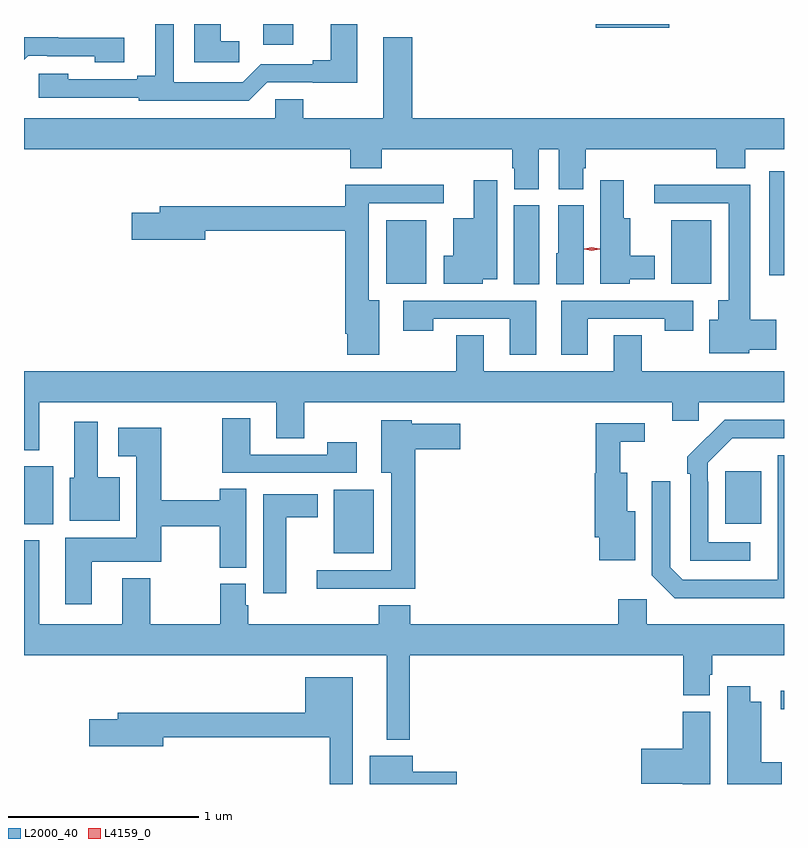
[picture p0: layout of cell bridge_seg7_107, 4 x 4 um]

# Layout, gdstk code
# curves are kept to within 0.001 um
import gdstk
lib = gdstk.Library(unit=1e-6, precision=1e-09)
def R(c, l, rs):  # rectangles x0, y0, x1, y1
    for r in rs: c.add(gdstk.rectangle(r[:2], r[2:], *l))
def P(c, l, *ps):  # polygons
    for p in ps: c.add(gdstk.Polygon(p, *l))
L2000_40 = (2000, 40)
L4159_0 = (4159, 0)

bridge_seg7_107 = lib.new_cell('bridge_seg7_107')
R(bridge_seg7_107, L2000_40, [(1130.013,1004.328,1130.03,1004.426), (1127.66,1005.149,1127.872,1005.484), (1126.03,1005.302,1126.183,1005.607), (1129.721,1005.305,1129.909,1005.58), (1128.608,1006.564,1128.742,1006.98), (1127.936,1006.568,1128.148,1006.903), (1129.436,1006.568,1129.648,1006.903), (1129.952,1006.613,1130.03,1007.161), (1127.288,1007.826,1127.446,1007.935), (1129.038,1007.914,1129.426,1007.935)])
P(bridge_seg7_107, L2000_40, [(1127.31,1007.628),(1127.785,1007.627),(1127.785,1007.935),(1127.645,1007.935),(1127.645,1007.744),(1127.549,1007.744),(1127.549,1007.724),(1127.277,1007.724),(1127.181,1007.628),(1126.818,1007.628),(1126.818,1007.935),(1126.721,1007.935),(1126.721,1007.663),(1126.625,1007.663),(1126.625,1007.643),(1126.263,1007.643),(1126.263,1007.674),(1126.107,1007.674),(1126.107,1007.547),(1126.635,1007.547),(1126.635,1007.532),(1127.214,1007.532)],
  [(1127.164,1007.843),(1127.065,1007.843),(1127.065,1007.935),(1126.925,1007.935),(1126.925,1007.734),(1127.164,1007.734)],
  [(1126.558,1007.863),(1126.211,1007.863),(1126.211,1007.866),(1126.03,1007.866),(1126.03,1007.746),(1126.053,1007.769),(1126.153,1007.769),(1126.153,1007.766),(1126.402,1007.766),(1126.402,1007.735),(1126.558,1007.735)],
  [(1128.739,1007.276),(1128.845,1007.276),(1128.845,1007.065),(1128.973,1007.065),(1128.973,1007.175),(1128.986,1007.175),(1128.986,1007.276),(1129.673,1007.276),(1129.673,1007.177),(1129.825,1007.177),(1129.825,1007.276),(1130.03,1007.276),(1130.03,1007.44),(1128.074,1007.44),(1128.074,1007.866),(1127.921,1007.866),(1127.921,1007.44),(1127.499,1007.44),(1127.499,1007.538),(1127.352,1007.538),(1127.352,1007.44),(1126.03,1007.44),(1126.03,1007.276),(1127.747,1007.276),(1127.747,1007.177),(1127.912,1007.177),(1127.912,1007.276),(1128.599,1007.276),(1128.599,1007.175),(1128.611,1007.175),(1128.611,1007.065),(1128.739,1007.065)],
  [(1129.218,1006.592),(1129.351,1006.592),(1129.351,1006.714),(1129.222,1006.714),(1129.222,1006.912),(1129.186,1006.912),(1129.186,1007.113),(1129.064,1007.113),(1129.064,1006.568),(1129.218,1006.568)],
  [(1128.444,1006.592),(1128.52,1006.592),(1128.52,1007.113),(1128.398,1007.113),(1128.398,1006.912),(1128.29,1006.912),(1128.29,1006.714),(1128.239,1006.714),(1128.239,1006.568),(1128.444,1006.568)],
  [(1127.899,1006.48),(1127.845,1006.48),(1127.845,1006.992),(1128.238,1006.992),(1128.238,1007.09),(1127.72,1007.09),(1127.72,1006.975),(1126.745,1006.975),(1126.745,1006.941),(1126.596,1006.941),(1126.596,1006.799),(1126.984,1006.799),(1126.984,1006.846),(1127.72,1006.846),(1127.72,1006.306),(1127.732,1006.306),(1127.732,1006.194),(1127.899,1006.194)],
  [(1129.848,1006.22),(1129.99,1006.22),(1129.99,1006.378),(1129.852,1006.378),(1129.852,1007.09),(1129.347,1007.09),(1129.347,1006.992),(1129.739,1006.992),(1129.739,1006.48),(1129.685,1006.48),(1129.685,1006.378),(1129.637,1006.378),(1129.637,1006.202),(1129.848,1006.202)],
  [(1128.976,1006.98),(1128.842,1006.98),(1128.842,1006.728),(1128.83,1006.728),(1128.83,1006.564),(1128.976,1006.564)],
  [(1128.727,1006.479),(1128.027,1006.479),(1128.027,1006.32),(1128.183,1006.32),(1128.183,1006.383),(1128.587,1006.383),(1128.587,1006.194),(1128.727,1006.194)],
  [(1128.997,1006.383),(1129.402,1006.383),(1129.402,1006.32),(1129.552,1006.32),(1129.552,1006.479),(1128.857,1006.479),(1128.857,1006.194),(1128.997,1006.194)],
  [(1126.111,1005.944),(1127.357,1005.944),(1127.357,1005.754),(1127.505,1005.754),(1127.505,1005.944),(1129.442,1005.944),(1129.442,1005.846),(1129.581,1005.846),(1129.581,1005.944),(1130.03,1005.944),(1130.03,1006.108),(1129.281,1006.108),(1129.281,1006.298),(1129.133,1006.298),(1129.133,1006.108),(1128.451,1006.108),(1128.451,1006.298),(1128.304,1006.298),(1128.304,1006.108),(1126.03,1006.108),(1126.03,1005.692),(1126.111,1005.692)],
  [(1127.782,1005.733),(1127.626,1005.733),(1127.626,1005.669),(1127.221,1005.669),(1127.221,1005.859),(1127.074,1005.859),(1127.074,1005.573),(1127.782,1005.573)],
  [(1129.852,1005.207),(1129.632,1005.207),(1129.632,1005.527),(1129.629,1005.527),(1129.629,1005.627),(1129.758,1005.756),(1130.03,1005.756),(1130.03,1005.852),(1129.718,1005.852),(1129.521,1005.657),(1129.521,1005.569),(1129.536,1005.569),(1129.536,1005.111),(1129.852,1005.111)],
  [(1128.089,1005.698),(1128.325,1005.698),(1128.325,1005.832),(1128.072,1005.832),(1128.072,1005.85),(1127.909,1005.85),(1127.909,1005.572),(1127.963,1005.572),(1127.963,1005.06),(1127.571,1005.06),(1127.571,1004.963),(1128.089,1004.963)],
  [(1126.534,1005.55),(1126.417,1005.55),(1126.417,1005.841),(1126.295,1005.841),(1126.295,1005.546),(1126.271,1005.546),(1126.271,1005.32),(1126.534,1005.32)],
  [(1129.246,1005.37),(1129.204,1005.37),(1129.204,1005.574),(1129.168,1005.574),(1129.168,1005.737),(1129.297,1005.737),(1129.297,1005.834),(1129.039,1005.834),(1129.039,1005.57),(1129.034,1005.57),(1129.034,1005.234),(1129.058,1005.234),(1129.058,1005.113),(1129.246,1005.113)],
  [(1126.387,1005.104),(1126.752,1005.104),(1126.752,1005.292),(1127.059,1005.292),(1127.059,1005.073),(1127.2,1005.073),(1127.2,1005.488),(1127.059,1005.488),(1127.059,1005.428),(1126.752,1005.428),(1126.752,1005.811),(1126.527,1005.811),(1126.527,1005.659),(1126.622,1005.659),(1126.622,1005.232),(1126.247,1005.232),(1126.247,1004.88),(1126.387,1004.88)],
  [(1130.03,1005.666),(1129.998,1005.666),(1129.998,1005.209),(1129.997,1005.209),(1129.997,1005.009),(1129.497,1005.009),(1129.431,1005.075),(1129.431,1005.529),(1129.335,1005.529),(1129.335,1005.033),(1129.456,1004.912),(1130.03,1004.912)],
  [(1127.41,1005.338),(1127.575,1005.338),(1127.575,1005.46),(1127.288,1005.46),(1127.288,1004.94),(1127.41,1004.94)],
  [(1128.061,1004.612),(1129.499,1004.612),(1129.499,1004.401),(1129.639,1004.401),(1129.639,1004.511),(1129.652,1004.511),(1129.652,1004.612),(1130.03,1004.612),(1130.03,1004.776),(1129.308,1004.776),(1129.308,1004.908),(1129.157,1004.908),(1129.157,1004.776),(1128.062,1004.776),(1128.062,1004.875),(1127.897,1004.875),(1127.897,1004.776),(1127.21,1004.776),(1127.21,1004.877),(1127.197,1004.877),(1127.197,1004.988),(1127.062,1004.988),(1127.062,1004.776),(1126.695,1004.776),(1126.695,1005.019),(1126.547,1005.019),(1126.547,1004.776),(1126.111,1004.776),(1126.111,1005.217),(1126.03,1005.217),(1126.03,1004.612),(1127.939,1004.612),(1127.939,1004.168),(1128.061,1004.168)],
  [(1127.761,1004.497),(1127.51,1004.497),(1127.51,1004.311),(1126.523,1004.311),(1126.523,1004.277),(1126.374,1004.277),(1126.374,1004.135),(1126.762,1004.135),(1126.762,1004.182),(1127.64,1004.182),(1127.64,1003.935),(1127.761,1003.935)],
  [(1130.017,1004.05),(1129.909,1004.05),(1129.909,1004.368),(1129.852,1004.368),(1129.852,1004.449),(1129.73,1004.449),(1129.73,1003.935),(1130.017,1003.935)],
  [(1129.642,1004.316),(1129.496,1004.316),(1129.496,1004.12),(1129.278,1004.12),(1129.278,1003.937),(1129.496,1003.937),(1129.496,1003.935),(1129.642,1003.935)],
  [(1128.307,1004),(1128.076,1004),(1128.076,1004.083),(1127.849,1004.083),(1127.849,1003.935),(1128.307,1003.935)])
P(bridge_seg7_107, L4159_0, [(1129.019,1006.741),(1128.978,1006.75),(1128.978,1006.751),(1128.978,1006.751),(1129.019,1006.761),(1129.06,1006.751),(1129.06,1006.751),(1129.06,1006.75)])

lib.write_gds('bridge_seg7_107.gds')
